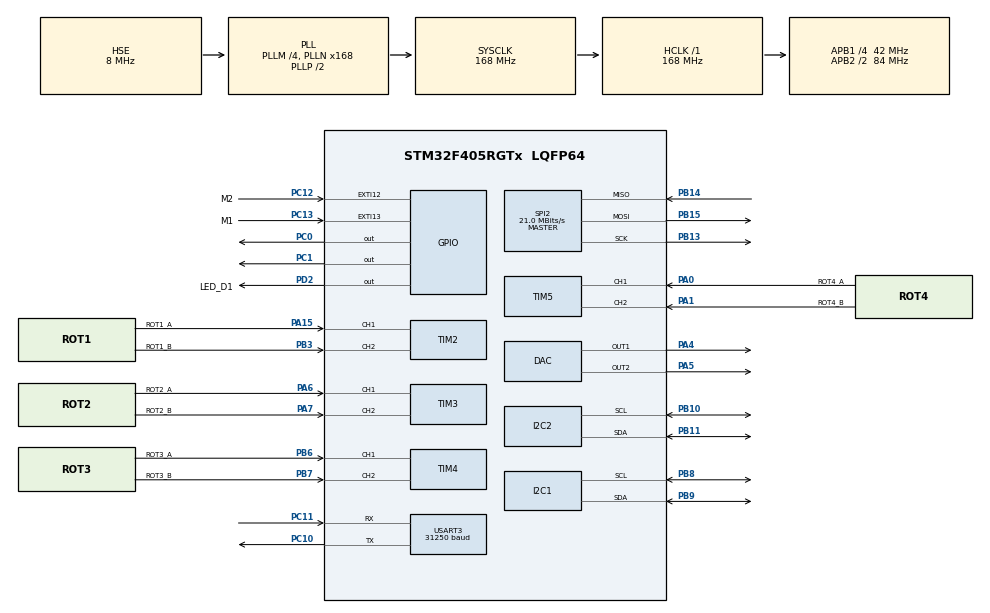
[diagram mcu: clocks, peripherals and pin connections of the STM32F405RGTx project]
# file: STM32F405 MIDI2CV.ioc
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Dma.I2C1_TX.0.Direction=DMA_MEMORY_TO_PERIPH
Dma.I2C1_TX.0.FIFOMode=DMA_FIFOMODE_DISABLE
Dma.I2C1_TX.0.Instance=DMA1_Stream6
Dma.I2C1_TX.0.MemDataAlignment=DMA_MDATAALIGN_BYTE
Dma.I2C1_TX.0.MemInc=DMA_MINC_ENABLE
Dma.I2C1_TX.0.Mode=DMA_NORMAL
Dma.I2C1_TX.0.PeriphDataAlignment=DMA_PDATAALIGN_BYTE
Dma.I2C1_TX.0.PeriphInc=DMA_PINC_DISABLE
Dma.I2C1_TX.0.Priority=DMA_PRIORITY_MEDIUM
Dma.Request0=I2C1_TX
I2C2.I2C_Mode=I2C_Fast
Mcu.Family=STM32F4
Mcu.Name=STM32F405RGTx
Mcu.Package=LQFP64
NVIC.DMA1_Stream6_IRQn=true\:0\:0\:false\:false\:true\:false\:true\:true
NVIC.EXTI15_10_IRQn=true\:0\:0\:false\:false\:true\:true\:true\:true
NVIC.I2C1_EV_IRQn=true\:0\:0\:false\:false\:true\:true\:true\:true
NVIC.PriorityGroup=NVIC_PRIORITYGROUP_4
NVIC.SPI2_IRQn=true\:0\:0\:false\:false\:true\:true\:true\:true
NVIC.TIM2_IRQn=true\:0\:0\:false\:false\:true\:true\:true\:true
NVIC.TIM3_IRQn=true\:0\:0\:false\:false\:true\:true\:true\:true
NVIC.TIM4_IRQn=true\:0\:0\:false\:false\:true\:true\:true\:true
NVIC.TIM5_IRQn=true\:0\:0\:false\:false\:true\:true\:true\:true
NVIC.TIM7_IRQn=true\:0\:0\:false\:false\:true\:true\:true\:true
NVIC.TIM8_UP_TIM13_IRQn=true\:0\:0\:false\:false\:true\:true\:true\:true
NVIC.USART3_IRQn=true\:0\:0\:false\:false\:true\:true\:true\:true
PA0-WKUP.GPIO_Label=ROT4_A
PA0-WKUP.GPIO_PuPd=GPIO_PULLUP
PA0-WKUP.Signal=S_TIM5_CH1
PA1.GPIO_Label=ROT4_B
PA1.GPIO_PuPd=GPIO_PULLUP
PA1.Signal=S_TIM5_CH2
PA13.Mode=Serial_Wire
PA13.Signal=SYS_JTMS-SWDIO
PA14.Mode=Serial_Wire
PA14.Signal=SYS_JTCK-SWCLK
PA15.GPIO_Label=ROT1_A
PA15.GPIO_PuPd=GPIO_PULLUP
PA15.Signal=S_TIM2_CH1_ETR
PA4.Signal=COMP_DAC1_group
PA5.Signal=COMP_DAC2_group
PA6.GPIO_Label=ROT2_A
PA6.GPIO_PuPd=GPIO_PULLUP
PA6.Signal=S_TIM3_CH1
PA7.GPIO_Label=ROT2_B
PA7.GPIO_PuPd=GPIO_PULLUP
PA7.Signal=S_TIM3_CH2
PB10.Mode=I2C
PB10.Signal=I2C2_SCL
PB11.Mode=I2C
PB11.Signal=I2C2_SDA
PB13.Mode=Full_Duplex_Master
PB13.Signal=SPI2_SCK
PB14.Mode=Full_Duplex_Master
PB14.Signal=SPI2_MISO
PB15.Mode=Full_Duplex_Master
PB15.Signal=SPI2_MOSI
PB3.GPIO_Label=ROT1_B
PB3.GPIO_PuPd=GPIO_PULLUP
PB3.Signal=S_TIM2_CH2
PB6.GPIO_Label=ROT3_A
PB6.GPIO_PuPd=GPIO_PULLUP
PB6.Signal=S_TIM4_CH1
PB7.GPIO_Label=ROT3_B
PB7.GPIO_PuPd=GPIO_PULLUP
PB7.Signal=S_TIM4_CH2
PB8.Mode=I2C
PB8.Signal=I2C1_SCL
PB9.Mode=I2C
PB9.Signal=I2C1_SDA
PC0.Signal=GPIO_Output
PC1.Signal=GPIO_Output
PC10.Mode=Asynchronous
PC10.Signal=USART3_TX
PC11.Mode=Asynchronous
PC11.Signal=USART3_RX
PC12.GPIO_Label=M2
PC12.GPIO_ModeDefaultEXTI=GPIO_MODE_IT_RISING_FALLING
PC12.GPIO_PuPd=GPIO_PULLUP
PC12.Signal=GPXTI12
PC13-ANTI_TAMP.GPIO_Label=M1
PC13-ANTI_TAMP.GPIO_ModeDefaultEXTI=GPIO_MODE_IT_RISING_FALLING
PC13-ANTI_TAMP.GPIO_PuPd=GPIO_PULLUP
PC13-ANTI_TAMP.Signal=GPXTI13
PC14-OSC32_IN.Mode=LSE-External-Oscillator
PC14-OSC32_IN.Signal=RCC_OSC32_IN
PC15-OSC32_OUT.Mode=LSE-External-Oscillator
PC15-OSC32_OUT.Signal=RCC_OSC32_OUT
PD2.GPIO_Label=LED_D1
PD2.Signal=GPIO_Output
PH0-OSC_IN.Mode=HSE-External-Oscillator
PH0-OSC_IN.Signal=RCC_OSC_IN
PH1-OSC_OUT.Mode=HSE-External-Oscillator
PH1-OSC_OUT.Signal=RCC_OSC_OUT
ProjectManager.HeapSize=0x200
ProjectManager.StackSize=0x400
ProjectManager.TargetToolchain=STM32CubeIDE
RCC.48MHZClocksFreq_Value=84000000
RCC.AHBFreq_Value=168000000
RCC.APB1CLKDivider=RCC_HCLK_DIV4
RCC.APB1Freq_Value=42000000
RCC.APB1TimFreq_Value=84000000
RCC.APB2CLKDivider=RCC_HCLK_DIV2
RCC.APB2Freq_Value=84000000
RCC.APB2TimFreq_Value=168000000
RCC.CortexFreq_Value=168000000
RCC.HCLKFreq_Value=168000000
RCC.HSE_VALUE=8000000
RCC.HSI_VALUE=16000000
RCC.PLLM=4
RCC.PLLN=168
RCC.PLLSourceVirtual=RCC_PLLSOURCE_HSE
RCC.SYSCLKFreq_VALUE=168000000
RCC.SYSCLKSource=RCC_SYSCLKSOURCE_PLLCLK
RCC.VCOOutputFreq_Value=336000000
SH.COMP_DAC1_group.0=DAC_OUT1,DAC_OUT1
SH.COMP_DAC2_group.0=DAC_OUT2,DAC_OUT2
SH.S_TIM2_CH1_ETR.0=TIM2_CH1,Encoder_Interface
SH.S_TIM2_CH2.0=TIM2_CH2,Encoder_Interface
SH.S_TIM3_CH1.0=TIM3_CH1,Encoder_Interface
SH.S_TIM3_CH2.0=TIM3_CH2,Encoder_Interface
SH.S_TIM4_CH1.0=TIM4_CH1,Encoder_Interface
SH.S_TIM4_CH2.0=TIM4_CH2,Encoder_Interface
SH.S_TIM5_CH1.0=TIM5_CH1,Encoder_Interface
SH.S_TIM5_CH2.0=TIM5_CH2,Encoder_Interface
SPI2.CLKPolarity=SPI_POLARITY_HIGH
SPI2.CalculateBaudRate=21.0 MBits/s
SPI2.DataSize=SPI_DATASIZE_16BIT
SPI2.Direction=SPI_DIRECTION_2LINES
SPI2.Mode=SPI_MODE_MASTER
SPI2.VirtualType=VM_MASTER
TIM13.Period=0
TIM7.Period=1
TIM7.Prescaler=16799
USART3.BaudRate=31250
USART3.Mode=MODE_RX
USART3.VirtualMode=VM_ASYNC
VP_TIM13_VS_ClockSourceINT.Mode=Enable_Timer
VP_TIM7_VS_ClockSourceINT.Mode=Enable_Timer
board=custom

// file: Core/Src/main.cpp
/* USER CODE BEGIN Header */
/**
  ******************************************************************************
  * @file           : main.c
  * @brief          : Main program body
  ******************************************************************************
  * @attention
  *
  * Copyright (c) 2024 STMicroelectronics.
  * All rights reserved.
  *
  * This software is licensed under terms that can be found in the LICENSE file
  * in the root directory of this software component.
  * If no LICENSE file comes with this software, it is provided AS-IS.
  *
  ******************************************************************************
  */
/* USER CODE END Header */
#include "main.h"

/* USER CODE BEGIN Includes */
#include <stdio.h>
#include <math.h>
#include "MIDI.h"
#include "MidiHandlers.h"
#include "mcp4728_mod.h"
#include "ssd1306.h"
#include "ssd1306_fonts.h"
#include <adsr.h>
#include "lookup_t.h"
#include "midi2freq.h"
#include "lfo.h"
#include "mygtukai.h"
/* USER CODE END Includes */

/* USER CODE BEGIN PTD */

#define MAX_MIDI_CHANNELS 2
/* USER CODE END PTD */

DAC_HandleTypeDef hdac;

I2C_HandleTypeDef hi2c1;
I2C_HandleTypeDef hi2c2;
DMA_HandleTypeDef hdma_i2c1_tx;

SPI_HandleTypeDef hspi2;

TIM_HandleTypeDef htim2;
TIM_HandleTypeDef htim3;
TIM_HandleTypeDef htim4;
TIM_HandleTypeDef htim5;
TIM_HandleTypeDef htim7;
TIM_HandleTypeDef htim13;

UART_HandleTypeDef huart3;

/* USER CODE BEGIN PV */
/* Midi kintamieji */
/* 4 balsai */

/*  */

uint32_t ramp_counter = 0;

uint32_t new_period = 0;
ADSR_t adsr;
int16_t ROT1;
int16_t ROT2;
//float env1;
ADSR_t envelopes[NUM_ENVELOPES]; // Array to hold the ADSR envelopes

// midi natos pagal kanalus kintamieji
//bool note_active[MAX_MIDI_CHANNELS] = {false};
//uint32_t pitch_CV[MAX_MIDI_CHANNELS];
//uint32_t velo_CV[MAX_MIDI_CHANNELS];
//uint8_t current_note[MAX_MIDI_CHANNELS];
/* USER CODE END PV */

void SystemClock_Config(void);
static void MX_GPIO_Init(void);
static void MX_DMA_Init(void);
static void MX_I2C1_Init(void);
static void MX_DAC_Init(void);
static void MX_SPI2_Init(void);
static void MX_TIM2_Init(void);
static void MX_TIM7_Init(void);
static void MX_TIM13_Init(void);
static void MX_I2C2_Init(void);
static void MX_USART3_UART_Init(void);
static void MX_TIM3_Init(void);
static void MX_TIM4_Init(void);
static void MX_TIM5_Init(void);

/* USER CODE BEGIN 0 */
int _write(int file, char *ptr, int len)
 {
	 int DataIdx;
	 for (DataIdx = 0; DataIdx < len; DataIdx++)
	 {
		 ITM_SendChar(*ptr++);
	 }
	 return len;
 }
/* midi dalis */
MidiInterface Port;

//void Handle_CC(byte channel, byte number, byte value);
//void Handle_CC16(byte channel, byte number, byte value);
//void ADSR_HandleCC(byte channel, byte number, byte value);
//void Handle_NoteOn(uint8_t status, uint8_t data1, uint8_t data2);
//void Handle_NoteOff(uint8_t channel, uint8_t note, uint8_t velocity);

uint32_t envelope_to_dac_value(float envelope_value) {
    return (uint32_t)(envelope_value * 4095.0f);
}

void HAL_TIM_PeriodElapsedCallback(TIM_HandleTypeDef *htim) {

//    if (htim->Instance == TIM13) {
//        update_adsr_flag = true;  // Set the flag to update ADSR parameters
// //       oled("ADSR Flag = TRUE");
//    }
    ChannelConfig2 config2;
    if (htim->Instance == TIM7) {
/*  ADSR kreivių formavimas naudojant laikmatį.  */
        // Update the first envelope
//    	ADSR_UpdateParametersWithEncoders(&adsr);
        ADSR_UpdateEnvelope(&envelopes[0]);
        uint32_t dac_value1 = envelope_to_dac_value(ADSR_GetEnvelopeValue(&envelopes[0]));
//        config2.val[2] = dac_value1;
//        DACx61SW(&hi2c1, config2, 2);
//        DAC_MW(&hi2c1, dac2, config2, 2);
//        HAL_DAC_SetValue(&hdac, DAC_CHANNEL_1, DAC_ALIGN_12B_R, dac_value1);
        // Update the second envelope
        ADSR_UpdateEnvelope(&envelopes[1]);
        uint32_t dac_value2 = envelope_to_dac_value(ADSR_GetEnvelopeValue(&envelopes[1]));
        HAL_DAC_SetValue(&hdac, DAC_CHANNEL_2, DAC_ALIGN_12B_R, dac_value2);
        //
//        ADSR_UpdateEnvelope(&envelopes[2]);
//        uint32_t dac_value3 = envelope_to_dac_value(ADSR_GetEnvelopeValue(&envelopes[2]));
//        //
//        ADSR_UpdateEnvelope(&envelopes[3]);
//        uint32_t dac_value4 = envelope_to_dac_value(ADSR_GetEnvelopeValue(&envelopes[3]));
    }

//    if (htim->Instance == TIM13) {
//        ramp_counter++;
//        if (ramp_counter > 4095) {
//            ramp_counter = 0;
//        }
//        HAL_DAC_SetValue(&hdac2, DAC_CHANNEL_1, DAC_ALIGN_12B_R, ramp_counter);
//    }
}

uint32_t counter = 0;

int16_t count = 0;
uint32_t counter2 = 0;

int16_t count2 = 0;

int16_t position = 0;

int speed =0;
int busena = M_ADSR;

void HAL_TIM_IC_CaptureCallback(TIM_HandleTypeDef *htim)
{
	ROT1 = ((int16_t)__HAL_TIM_GET_COUNTER(&htim2))/4;
	ROT2 = ((int16_t)__HAL_TIM_GET_COUNTER(&htim3))/4;
//	ROT3 = ((int16_t)__HAL_TIM_GET_COUNTER(&htim4))/4;
//	ROT4 = ((int16_t)__HAL_TIM_GET_COUNTER(&htim5))/4;

//    ADSR_SetAttackRate(&envelopes[0], ROT1);
//    ADSR_SetDecayRate(&envelopes[0], ROT2);
	meniu_mygtukai();
}

void EXTI15_10_IRQHandler(void) {
    if (__HAL_GPIO_EXTI_GET_IT(M1_Pin) != RESET) {
        __HAL_GPIO_EXTI_CLEAR_IT(M1_Pin);

//        // Check if the button on PC13 is pressed
//        if (HAL_GPIO_ReadPin(M1_GPIO_Port, M1_Pin) == GPIO_PIN_RESET) {
//            // Set LED_D1_GPIO_Port to high
//            HAL_GPIO_WritePin(GPIOC, GPIO_PIN_0, GPIO_PIN_SET);
//        } else {
//            // Set LED_D1_GPIO_Port to low
//            HAL_GPIO_WritePin(GPIOC, GPIO_PIN_0, GPIO_PIN_RESET);
//        }
    }
    if (__HAL_GPIO_EXTI_GET_IT(M2_Pin) != RESET) {
        __HAL_GPIO_EXTI_CLEAR_IT(M2_Pin);

        // Check if the button on PC12 is pressed
//        if (HAL_GPIO_ReadPin(M2_GPIO_Port, M2_Pin) == GPIO_PIN_RESET) {
//            // Set LED_D1_GPIO_Port to high
//            HAL_GPIO_WritePin(GPIOC, GPIO_PIN_1, GPIO_PIN_SET);
//        } else {
//            // Set LED_D1_GPIO_Port to low
//            HAL_GPIO_WritePin(GPIOC, GPIO_PIN_1, GPIO_PIN_RESET);
//        }
    }

}

void HAL_GPIO_EXTI_Callback(uint16_t GPIO_Pin) {
	meniu_mygtukai();
    if (GPIO_Pin == M1_Pin) {
    	busena = M_ADSR;

        // Debounce logic
//        HAL_Delay(20);
      if  (HAL_GPIO_ReadPin(M1_GPIO_Port, M1_Pin) == GPIO_PIN_RESET) {

          // Button is pressed
//            HAL_GPIO_WritePin(GPIOC, GPIO_PIN_1, GPIO_PIN_SET);
      } else {
          // Set LED_D1_GPIO_Port to low
//            HAL_GPIO_WritePin(GPIOC, GPIO_PIN_1, GPIO_PIN_RESET);
      }}

    if (GPIO_Pin == M2_Pin) {
    	busena = M_DAC;
        // Debounce logic
//        HAL_Delay(20);
        if (HAL_GPIO_ReadPin(M2_GPIO_Port, M2_Pin) == GPIO_PIN_RESET) {

            // Button is pressed
//            HAL_GPIO_WritePin(GPIOC, GPIO_PIN_1, GPIO_PIN_SET);
        } else {
            // Set LED_D1_GPIO_Port to low
//            HAL_GPIO_WritePin(GPIOC, GPIO_PIN_1, GPIO_PIN_RESET);
        }
    }
}

/* USER CODE END 0 */

int main(void)
{

  /* USER CODE BEGIN 1 */

//	char tekstas[] = "LOST MY SHIT";

  /* USER CODE END 1 */

  /* MCU Configuration--------------------------------------------------------*/

  /* Reset of all peripherals, Initializes the Flash interface and the Systick. */
  HAL_Init();

  /* Configure the system clock */
  SystemClock_Config();

  /* Initialize all configured peripherals */
  MX_GPIO_Init();
  MX_DMA_Init();
  MX_I2C1_Init();
  MX_DAC_Init();
  MX_SPI2_Init();
  MX_TIM2_Init();
  MX_TIM7_Init();
  MX_TIM13_Init();
  MX_I2C2_Init();
  MX_USART3_UART_Init();
  MX_TIM3_Init();
  MX_TIM4_Init();
  MX_TIM5_Init();
  /* USER CODE BEGIN 2 */

	Port.begin(1, &huart3, &huart3);
	Port.setHandleClock(Handle_Clock);
	Port.setHandleStart(Handle_Start);
	Port.setHandleStop(Handle_Stop);
	Port.setHandleNoteOn(Handle_NoteOn);
	Port.setHandleNoteOff(Handle_NoteOff);
	Port.setHandleControlChange(Handle_CC);

    HAL_DAC_Start(&hdac, DAC_CHANNEL_2);
    HAL_DAC_Start(&hdac, DAC_CHANNEL_1);

//    mcp4728_generalCall(&hi2c1, MCP4728_GENERAL_RESET);
//    HAL_Delay(10);
        ChannelConfig config;
        ChannelConfig2 config2;
        dac_init(&config, &config2);

        mcp4728_sequentialWrite(&hi2c1, config, 0);
//        mcp4728_vrefSelect(&hi2c1, config);

//        mcp4728_configure(&hi2c1, dac1, config);
        mcp4728_configure(&hi2c1, dac2, config, 0);
//        mcp4728_configure(&hi2c1, dac3, config);

//    ChannelConfig dac_config = {
//        .vref = 0x0F,  // Internal VREF for all 4 channels (1 << 0 | 1 << 1 | 1 << 2 | 1 << 3)
//        .gain = 0x0F,   // 2x gain for all 4 channels
//        .val = {0, 0, 0, 0}  // Start with zero output
//    };
//    // Configure DAC 0x60
//    mcp4728_configure(&hi2c1, dac1, dac_config);
//    // Configure DAC 0x61
//    mcp4728_configure(&hi2c1, dac2, dac_config);
//    // Configure DAC 0x62
//    mcp4728_configure(&hi2c1, dac3, dac_config);

//    ChannelConfig config;
//    ChannelConfig_2 config2;
//    dac_init(&config, &config2);
////    mcp4728_vrefSelect(&hi2c1, config);
//    DACx60FW(&hi2c1, config);

//    ssd1306_Init();
//    ssd1306_SetCursor(5, 50);
//    ssd1306_WriteString(tekstas, Font_7x10, White);
//    ssd1306_UpdateScreen();

    HAL_TIM_Base_Start_IT(&htim7);
    //HAL_TIM_Base_Start_IT(&htim13);
    //HAL_TIM_Base_Start(&htim2);
    ADSR_Init(envelopes, NUM_ENVELOPES);

    HAL_TIM_Encoder_Start_IT(&htim2, TIM_CHANNEL_ALL);
    HAL_TIM_Encoder_Start_IT(&htim3, TIM_CHANNEL_ALL);
//    HAL_TIM_Encoder_Start_IT(&htim4, TIM_CHANNEL_ALL);
//    HAL_TIM_Encoder_Start_IT(&htim5, TIM_CHANNEL_ALL);

    __HAL_RCC_GPIOC_CLK_ENABLE();
    meniu_mygtukai();

  /* USER CODE END 2 */

  /* Infinite loop */
  while (1)
  {

    /* USER CODE BEGIN 3 */
		Port.read();
  }
  /* USER CODE END 3 */
}

void SystemClock_Config(void)
{
  RCC_OscInitTypeDef RCC_OscInitStruct = {0};
  RCC_ClkInitTypeDef RCC_ClkInitStruct = {0};

  /** Configure the main internal regulator output voltage
  */
  __HAL_RCC_PWR_CLK_ENABLE();
  __HAL_PWR_VOLTAGESCALING_CONFIG(PWR_REGULATOR_VOLTAGE_SCALE1);

  /** Initializes the RCC Oscillators according to the specified parameters
  * in the RCC_OscInitTypeDef structure.
  */
  RCC_OscInitStruct.OscillatorType = RCC_OSCILLATORTYPE_HSE;
  RCC_OscInitStruct.HSEState = RCC_HSE_ON;
  RCC_OscInitStruct.PLL.PLLState = RCC_PLL_ON;
  RCC_OscInitStruct.PLL.PLLSource = RCC_PLLSOURCE_HSE;
  RCC_OscInitStruct.PLL.PLLM = 4;
  RCC_OscInitStruct.PLL.PLLN = 168;
  RCC_OscInitStruct.PLL.PLLP = RCC_PLLP_DIV2;
  RCC_OscInitStruct.PLL.PLLQ = 4;
  if (HAL_RCC_OscConfig(&RCC_OscInitStruct) != HAL_OK)
  {
    Error_Handler();
  }

  /** Initializes the CPU, AHB and APB buses clocks
  */
  RCC_ClkInitStruct.ClockType = RCC_CLOCKTYPE_HCLK|RCC_CLOCKTYPE_SYSCLK
                              |RCC_CLOCKTYPE_PCLK1|RCC_CLOCKTYPE_PCLK2;
  RCC_ClkInitStruct.SYSCLKSource = RCC_SYSCLKSOURCE_PLLCLK;
  RCC_ClkInitStruct.AHBCLKDivider = RCC_SYSCLK_DIV1;
  RCC_ClkInitStruct.APB1CLKDivider = RCC_HCLK_DIV4;
  RCC_ClkInitStruct.APB2CLKDivider = RCC_HCLK_DIV2;

  if (HAL_RCC_ClockConfig(&RCC_ClkInitStruct, FLASH_LATENCY_5) != HAL_OK)
  {
    Error_Handler();
  }
}

static void MX_DAC_Init(void)
{

  DAC_ChannelConfTypeDef sConfig = {0};

  /** DAC Initialization
  */
  hdac.Instance = DAC;
  if (HAL_DAC_Init(&hdac) != HAL_OK)
  {
    Error_Handler();
  }

  /** DAC channel OUT1 config
  */
  sConfig.DAC_Trigger = DAC_TRIGGER_NONE;
  sConfig.DAC_OutputBuffer = DAC_OUTPUTBUFFER_ENABLE;
  if (HAL_DAC_ConfigChannel(&hdac, &sConfig, DAC_CHANNEL_1) != HAL_OK)
  {
    Error_Handler();
  }

  /** DAC channel OUT2 config
  */
  if (HAL_DAC_ConfigChannel(&hdac, &sConfig, DAC_CHANNEL_2) != HAL_OK)
  {
    Error_Handler();
  }

}

static void MX_I2C1_Init(void)
{

  hi2c1.Instance = I2C1;
  hi2c1.Init.ClockSpeed = 100000;
  hi2c1.Init.DutyCycle = I2C_DUTYCYCLE_2;
  hi2c1.Init.OwnAddress1 = 0;
  hi2c1.Init.AddressingMode = I2C_ADDRESSINGMODE_7BIT;
  hi2c1.Init.DualAddressMode = I2C_DUALADDRESS_DISABLE;
  hi2c1.Init.OwnAddress2 = 0;
  hi2c1.Init.GeneralCallMode = I2C_GENERALCALL_DISABLE;
  hi2c1.Init.NoStretchMode = I2C_NOSTRETCH_DISABLE;
  if (HAL_I2C_Init(&hi2c1) != HAL_OK)
  {
    Error_Handler();
  }

}

static void MX_I2C2_Init(void)
{

  hi2c2.Instance = I2C2;
  hi2c2.Init.ClockSpeed = 400000;
  hi2c2.Init.DutyCycle = I2C_DUTYCYCLE_2;
  hi2c2.Init.OwnAddress1 = 0;
  hi2c2.Init.AddressingMode = I2C_ADDRESSINGMODE_7BIT;
  hi2c2.Init.DualAddressMode = I2C_DUALADDRESS_DISABLE;
  hi2c2.Init.OwnAddress2 = 0;
  hi2c2.Init.GeneralCallMode = I2C_GENERALCALL_DISABLE;
  hi2c2.Init.NoStretchMode = I2C_NOSTRETCH_DISABLE;
  if (HAL_I2C_Init(&hi2c2) != HAL_OK)
  {
    Error_Handler();
  }

}

static void MX_SPI2_Init(void)
{

  /* SPI2 parameter configuration*/
  hspi2.Instance = SPI2;
  hspi2.Init.Mode = SPI_MODE_MASTER;
  hspi2.Init.Direction = SPI_DIRECTION_2LINES;
  hspi2.Init.DataSize = SPI_DATASIZE_16BIT;
  hspi2.Init.CLKPolarity = SPI_POLARITY_HIGH;
  hspi2.Init.CLKPhase = SPI_PHASE_1EDGE;
  hspi2.Init.NSS = SPI_NSS_SOFT;
  hspi2.Init.BaudRatePrescaler = SPI_BAUDRATEPRESCALER_2;
  hspi2.Init.FirstBit = SPI_FIRSTBIT_MSB;
  hspi2.Init.TIMode = SPI_TIMODE_DISABLE;
  hspi2.Init.CRCCalculation = SPI_CRCCALCULATION_DISABLE;
  hspi2.Init.CRCPolynomial = 10;
  if (HAL_SPI_Init(&hspi2) != HAL_OK)
  {
    Error_Handler();
  }

}

static void MX_TIM2_Init(void)
{

  TIM_Encoder_InitTypeDef sConfig = {0};
  TIM_MasterConfigTypeDef sMasterConfig = {0};

  htim2.Instance = TIM2;
  htim2.Init.Prescaler = 0;
  htim2.Init.CounterMode = TIM_COUNTERMODE_UP;
  htim2.Init.Period = 4294967295;
  htim2.Init.ClockDivision = TIM_CLOCKDIVISION_DIV1;
  htim2.Init.AutoReloadPreload = TIM_AUTORELOAD_PRELOAD_DISABLE;
  sConfig.EncoderMode = TIM_ENCODERMODE_TI1;
  sConfig.IC1Polarity = TIM_ICPOLARITY_RISING;
  sConfig.IC1Selection = TIM_ICSELECTION_DIRECTTI;
  sConfig.IC1Prescaler = TIM_ICPSC_DIV1;
  sConfig.IC1Filter = 0;
  sConfig.IC2Polarity = TIM_ICPOLARITY_RISING;
  sConfig.IC2Selection = TIM_ICSELECTION_DIRECTTI;
  sConfig.IC2Prescaler = TIM_ICPSC_DIV1;
  sConfig.IC2Filter = 0;
  if (HAL_TIM_Encoder_Init(&htim2, &sConfig) != HAL_OK)
  {
    Error_Handler();
  }
  sMasterConfig.MasterOutputTrigger = TIM_TRGO_RESET;
  sMasterConfig.MasterSlaveMode = TIM_MASTERSLAVEMODE_DISABLE;
  if (HAL_TIMEx_MasterConfigSynchronization(&htim2, &sMasterConfig) != HAL_OK)
  {
    Error_Handler();
  }

}

static void MX_TIM3_Init(void)
{

  TIM_Encoder_InitTypeDef sConfig = {0};
  TIM_MasterConfigTypeDef sMasterConfig = {0};

  htim3.Instance = TIM3;
  htim3.Init.Prescaler = 0;
  htim3.Init.CounterMode = TIM_COUNTERMODE_UP;
  htim3.Init.Period = 65535;
  htim3.Init.ClockDivision = TIM_CLOCKDIVISION_DIV1;
  htim3.Init.AutoReloadPreload = TIM_AUTORELOAD_PRELOAD_DISABLE;
  sConfig.EncoderMode = TIM_ENCODERMODE_TI1;
  sConfig.IC1Polarity = TIM_ICPOLARITY_RISING;
  sConfig.IC1Selection = TIM_ICSELECTION_DIRECTTI;
  sConfig.IC1Prescaler = TIM_ICPSC_DIV1;
  sConfig.IC1Filter = 0;
  sConfig.IC2Polarity = TIM_ICPOLARITY_RISING;
  sConfig.IC2Selection = TIM_ICSELECTION_DIRECTTI;
  sConfig.IC2Prescaler = TIM_ICPSC_DIV1;
  sConfig.IC2Filter = 0;
  if (HAL_TIM_Encoder_Init(&htim3, &sConfig) != HAL_OK)
  {
    Error_Handler();
  }
  sMasterConfig.MasterOutputTrigger = TIM_TRGO_RESET;
  sMasterConfig.MasterSlaveMode = TIM_MASTERSLAVEMODE_DISABLE;
  if (HAL_TIMEx_MasterConfigSynchronization(&htim3, &sMasterConfig) != HAL_OK)
  {
    Error_Handler();
  }

}

static void MX_TIM4_Init(void)
{

  TIM_Encoder_InitTypeDef sConfig = {0};
  TIM_MasterConfigTypeDef sMasterConfig = {0};

  htim4.Instance = TIM4;
  htim4.Init.Prescaler = 0;
  htim4.Init.CounterMode = TIM_COUNTERMODE_UP;
  htim4.Init.Period = 65535;
  htim4.Init.ClockDivision = TIM_CLOCKDIVISION_DIV1;
  htim4.Init.AutoReloadPreload = TIM_AUTORELOAD_PRELOAD_DISABLE;
  sConfig.EncoderMode = TIM_ENCODERMODE_TI1;
  sConfig.IC1Polarity = TIM_ICPOLARITY_RISING;
  sConfig.IC1Selection = TIM_ICSELECTION_DIRECTTI;
  sConfig.IC1Prescaler = TIM_ICPSC_DIV1;
  sConfig.IC1Filter = 0;
  sConfig.IC2Polarity = TIM_ICPOLARITY_RISING;
  sConfig.IC2Selection = TIM_ICSELECTION_DIRECTTI;
  sConfig.IC2Prescaler = TIM_ICPSC_DIV1;
  sConfig.IC2Filter = 0;
  if (HAL_TIM_Encoder_Init(&htim4, &sConfig) != HAL_OK)
  {
    Error_Handler();
  }
  sMasterConfig.MasterOutputTrigger = TIM_TRGO_RESET;
  sMasterConfig.MasterSlaveMode = TIM_MASTERSLAVEMODE_DISABLE;
  if (HAL_TIMEx_MasterConfigSynchronization(&htim4, &sMasterConfig) != HAL_OK)
  {
    Error_Handler();
  }

}

static void MX_TIM5_Init(void)
{

  TIM_Encoder_InitTypeDef sConfig = {0};
  TIM_MasterConfigTypeDef sMasterConfig = {0};

  htim5.Instance = TIM5;
  htim5.Init.Prescaler = 0;
  htim5.Init.CounterMode = TIM_COUNTERMODE_UP;
  htim5.Init.Period = 4294967295;
  htim5.Init.ClockDivision = TIM_CLOCKDIVISION_DIV1;
  htim5.Init.AutoReloadPreload = TIM_AUTORELOAD_PRELOAD_DISABLE;
  sConfig.EncoderMode = TIM_ENCODERMODE_TI1;
  sConfig.IC1Polarity = TIM_ICPOLARITY_RISING;
  sConfig.IC1Selection = TIM_ICSELECTION_DIRECTTI;
  sConfig.IC1Prescaler = TIM_ICPSC_DIV1;
  sConfig.IC1Filter = 0;
  sConfig.IC2Polarity = TIM_ICPOLARITY_RISING;
  sConfig.IC2Selection = TIM_ICSELECTION_DIRECTTI;
  sConfig.IC2Prescaler = TIM_ICPSC_DIV1;
  sConfig.IC2Filter = 0;
  if (HAL_TIM_Encoder_Init(&htim5, &sConfig) != HAL_OK)
  {
    Error_Handler();
  }
  sMasterConfig.MasterOutputTrigger = TIM_TRGO_RESET;
  sMasterConfig.MasterSlaveMode = TIM_MASTERSLAVEMODE_DISABLE;
  if (HAL_TIMEx_MasterConfigSynchronization(&htim5, &sMasterConfig) != HAL_OK)
  {
    Error_Handler();
  }

}

static void MX_TIM7_Init(void)
{

  TIM_MasterConfigTypeDef sMasterConfig = {0};

  htim7.Instance = TIM7;
  htim7.Init.Prescaler = 16799;
  htim7.Init.CounterMode = TIM_COUNTERMODE_UP;
  htim7.Init.Period = 1;
  htim7.Init.AutoReloadPreload = TIM_AUTORELOAD_PRELOAD_DISABLE;
  if (HAL_TIM_Base_Init(&htim7) != HAL_OK)
  {
    Error_Handler();
  }
  sMasterConfig.MasterOutputTrigger = TIM_TRGO_RESET;
  sMasterConfig.MasterSlaveMode = TIM_MASTERSLAVEMODE_DISABLE;
  if (HAL_TIMEx_MasterConfigSynchronization(&htim7, &sMasterConfig) != HAL_OK)
  {
    Error_Handler();
  }

}

static void MX_TIM13_Init(void)
{

  htim13.Instance = TIM13;
  htim13.Init.Prescaler = 0;
  htim13.Init.CounterMode = TIM_COUNTERMODE_UP;
  htim13.Init.Period = 0;
  htim13.Init.ClockDivision = TIM_CLOCKDIVISION_DIV1;
  htim13.Init.AutoReloadPreload = TIM_AUTORELOAD_PRELOAD_DISABLE;
  if (HAL_TIM_Base_Init(&htim13) != HAL_OK)
  {
    Error_Handler();
  }

}

static void MX_USART3_UART_Init(void)
{

  huart3.Instance = USART3;
  huart3.Init.BaudRate = 31250;
  huart3.Init.WordLength = UART_WORDLENGTH_8B;
  huart3.Init.StopBits = UART_STOPBITS_1;
  huart3.Init.Parity = UART_PARITY_NONE;
  huart3.Init.Mode = UART_MODE_RX;
  huart3.Init.HwFlowCtl = UART_HWCONTROL_NONE;
  huart3.Init.OverSampling = UART_OVERSAMPLING_16;
  if (HAL_UART_Init(&huart3) != HAL_OK)
  {
    Error_Handler();
  }

}

static void MX_DMA_Init(void)
{

  /* DMA controller clock enable */
  __HAL_RCC_DMA1_CLK_ENABLE();

  /* DMA interrupt init */
  /* DMA1_Stream6_IRQn interrupt configuration */
  HAL_NVIC_SetPriority(DMA1_Stream6_IRQn, 0, 0);
  HAL_NVIC_EnableIRQ(DMA1_Stream6_IRQn);

}

static void MX_GPIO_Init(void)
{
  GPIO_InitTypeDef GPIO_InitStruct = {0};

  /* GPIO Ports Clock Enable */
  __HAL_RCC_GPIOC_CLK_ENABLE();
  __HAL_RCC_GPIOH_CLK_ENABLE();
  __HAL_RCC_GPIOA_CLK_ENABLE();
  __HAL_RCC_GPIOB_CLK_ENABLE();
  __HAL_RCC_GPIOD_CLK_ENABLE();

  /*Configure GPIO pin Output Level */
  HAL_GPIO_WritePin(GPIOC, GPIO_PIN_0|GPIO_PIN_1, GPIO_PIN_RESET);

  /*Configure GPIO pin Output Level */
  HAL_GPIO_WritePin(LED_D1_GPIO_Port, LED_D1_Pin, GPIO_PIN_RESET);

  /*Configure GPIO pins : M1_Pin M2_Pin */
  GPIO_InitStruct.Pin = M1_Pin|M2_Pin;
  GPIO_InitStruct.Mode = GPIO_MODE_IT_RISING_FALLING;
  GPIO_InitStruct.Pull = GPIO_PULLUP;
  HAL_GPIO_Init(GPIOC, &GPIO_InitStruct);

  /*Configure GPIO pins : PC0 PC1 */
  GPIO_InitStruct.Pin = GPIO_PIN_0|GPIO_PIN_1;
  GPIO_InitStruct.Mode = GPIO_MODE_OUTPUT_PP;
  GPIO_InitStruct.Pull = GPIO_NOPULL;
  GPIO_InitStruct.Speed = GPIO_SPEED_FREQ_LOW;
  HAL_GPIO_Init(GPIOC, &GPIO_InitStruct);

  /*Configure GPIO pin : LED_D1_Pin */
  GPIO_InitStruct.Pin = LED_D1_Pin;
  GPIO_InitStruct.Mode = GPIO_MODE_OUTPUT_PP;
  GPIO_InitStruct.Pull = GPIO_NOPULL;
  GPIO_InitStruct.Speed = GPIO_SPEED_FREQ_LOW;
  HAL_GPIO_Init(LED_D1_GPIO_Port, &GPIO_InitStruct);

  /* EXTI interrupt init*/
  HAL_NVIC_SetPriority(EXTI15_10_IRQn, 0, 0);
  HAL_NVIC_EnableIRQ(EXTI15_10_IRQn);

}

/* USER CODE BEGIN 4 */
void HAL_UART_RxCpltCallback(UART_HandleTypeDef *huart) {
	__NOP();
}
/* USER CODE END 4 */

void Error_Handler(void)
{
  __disable_irq();
  while (1)
  {
  }
}
